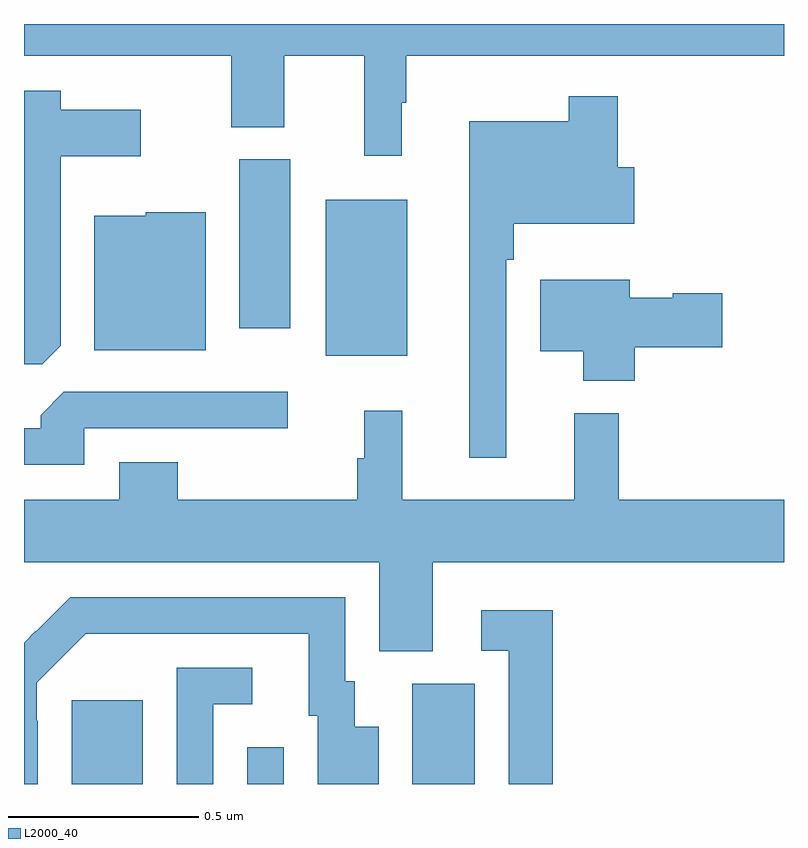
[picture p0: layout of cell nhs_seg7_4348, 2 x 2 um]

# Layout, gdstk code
import gdstk
lib = gdstk.Library(unit=1e-6, precision=1e-09)
def R(c, l, rs):  # rectangles x0, y0, x1, y1
    for r in rs: c.add(gdstk.rectangle(r[:2], r[2:], *l))
def P(c, l, *ps):  # polygons
    for p in ps: c.add(gdstk.Polygon(p, *l))
L2000_40 = (2000, 40)

nhs_seg7_4348 = lib.new_cell('nhs_seg7_4348')
R(nhs_seg7_4348, L2000_40, [(171.125,1032,171.313,1032.22), (171.588,1032,171.684,1032.097), (172.022,1032,172.186,1032.264), (171.794,1033.127,172.009,1033.537), (171.566,1033.2,171.7,1033.644)])
P(nhs_seg7_4348, L2000_40, [(171.994,1033.793),(172.006,1033.793),(172.006,1033.916),(173,1033.916),(173,1034),(171,1034),(171,1033.916),(171.545,1033.916),(171.545,1033.728),(171.685,1033.728),(171.685,1033.916),(171.896,1033.916),(171.896,1033.653),(171.994,1033.653)],
  [(171.097,1033.153),(171.097,1033.652),(171.307,1033.652),(171.307,1033.774),(171.097,1033.774),(171.097,1033.825),(171,1033.825),(171,1033.104),(171.048,1033.104)],
  [(172.269,1033.379),(172.289,1033.379),(172.289,1033.475),(172.606,1033.475),(172.606,1033.623),(172.562,1033.623),(172.562,1033.81),(172.434,1033.81),(172.434,1033.744),(172.172,1033.744),(172.172,1032.858),(172.269,1032.858)],
  [(171.478,1033.504),(171.321,1033.504),(171.321,1033.495),(171.185,1033.495),(171.185,1033.142),(171.478,1033.142)],
  [(172.607,1033.15),(172.837,1033.15),(172.837,1033.292),(172.707,1033.292),(172.707,1033.279),(172.594,1033.279),(172.594,1033.327),(172.358,1033.327),(172.358,1033.139),(172.472,1033.139),(172.472,1033.061),(172.607,1033.061)],
  [(171.159,1032.936),(171.694,1032.936),(171.694,1033.032),(171.105,1033.032),(171.044,1032.97),(171.044,1032.936),(171,1032.936),(171,1032.84),(171.159,1032.84)],
  [(171.935,1032.349),(172.075,1032.349),(172.075,1032.584),(173,1032.584),(173,1032.748),(172.565,1032.748),(172.565,1032.976),(172.448,1032.976),(172.448,1032.748),(171.995,1032.748),(171.995,1032.982),(171.896,1032.982),(171.896,1032.857),(171.877,1032.857),(171.877,1032.748),(171.404,1032.748),(171.404,1032.847),(171.251,1032.847),(171.251,1032.748),(171,1032.748),(171,1032.584),(171.935,1032.584)],
  [(171.036,1032.167),(171.033,1032.167),(171.033,1032.267),(171.162,1032.396),(171.749,1032.396),(171.749,1032.18),(171.773,1032.18),(171.773,1032),(171.934,1032),(171.934,1032.151),(171.871,1032.151),(171.871,1032.27),(171.846,1032.27),(171.846,1032.492),(171.122,1032.492),(171.031,1032.401),(171.03,1032.402),(171,1032.372),(171,1032),(171.036,1032)],
  [(172.391,1032.457),(172.203,1032.457),(172.203,1032.351),(172.275,1032.351),(172.275,1032),(172.391,1032)],
  [(171.498,1032.21),(171.601,1032.21),(171.601,1032.306),(171.402,1032.306),(171.402,1032),(171.498,1032)])

lib.write_gds('nhs_seg7_4348.gds')
